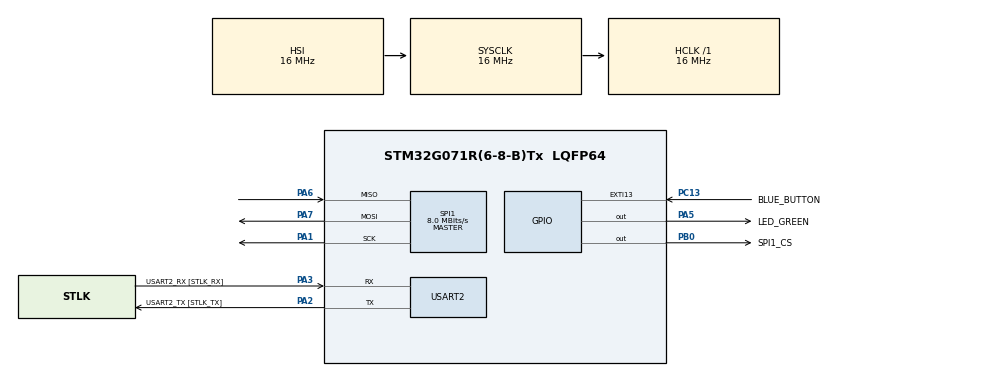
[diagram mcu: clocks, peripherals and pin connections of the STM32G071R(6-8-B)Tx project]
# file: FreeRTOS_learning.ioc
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FREERTOS.Tasks01=defaultTask,24,128,StartDefaultTask,Default,NULL,Dynamic,NULL,NULL
FREERTOS.configTOTAL_HEAP_SIZE=3072*2
FREERTOS.configUSE_NEWLIB_REENTRANT=1
Mcu.Family=STM32G0
Mcu.Name=STM32G071R(6-8-B)Tx
Mcu.Package=LQFP64
NVIC.EXTI4_15_IRQn=true\:3\:0\:false\:false\:true\:true\:true\:true\:true
NVIC.SPI1_IRQn=true\:3\:0\:false\:false\:true\:true\:true\:true\:true
NVIC.TIM6_DAC_LPTIM1_IRQn=true\:3\:0\:false\:false\:true\:false\:false\:true\:true
NVIC.TimeBase=TIM6_DAC_LPTIM1_IRQn
NVIC.TimeBaseIP=TIM6
NVIC.USART2_IRQn=true\:3\:0\:false\:false\:true\:true\:true\:true\:true
PA1.Mode=Full_Duplex_Master
PA1.Signal=SPI1_SCK
PA13.GPIO_Label=TMS
PA13.Mode=Serial_Wire
PA13.Signal=SYS_SWDIO
PA14-BOOT0.GPIO_Label=TCK
PA14-BOOT0.Mode=Serial_Wire
PA14-BOOT0.Signal=SYS_SWCLK
PA2.GPIO_Label=USART2_TX [STLK_TX]
PA2.GPIO_PuPd=GPIO_PULLUP
PA2.Mode=Asynchronous
PA2.Signal=USART2_TX
PA3.GPIO_Label=USART2_RX [STLK_RX]
PA3.GPIO_PuPd=GPIO_PULLUP
PA3.Mode=Asynchronous
PA3.Signal=USART2_RX
PA5.GPIO_Label=LED_GREEN
PA5.GPIO_Speed=GPIO_SPEED_FREQ_HIGH
PA5.Signal=GPIO_Output
PA6.Mode=Full_Duplex_Master
PA6.Signal=SPI1_MISO
PA7.Mode=Full_Duplex_Master
PA7.Signal=SPI1_MOSI
PB0.GPIO_Label=SPI1_CS
PB0.Signal=GPIO_Output
PC13.GPIO_Label=BLUE_BUTTON
PC13.GPIO_ModeDefaultEXTI=GPIO_MODE_IT_FALLING
PC13.Signal=GPXTI13
PC14-OSC32_IN\ (PC14).Mode=LSE-External-Oscillator
PC14-OSC32_IN\ (PC14).Signal=RCC_OSC32_IN
PC15-OSC32_OUT\ (PC15).Mode=LSE-External-Oscillator
PC15-OSC32_OUT\ (PC15).Signal=RCC_OSC32_OUT
PF0-OSC_IN\ (PF0).GPIO_Label=MCO
PF0-OSC_IN\ (PF0).Mode=HSE-External-Clock-Source
PF0-OSC_IN\ (PF0).Signal=RCC_OSC_IN
ProjectManager.HeapSize=0x200
ProjectManager.StackSize=0x400
ProjectManager.TargetToolchain=STM32CubeIDE
RCC.AHBFreq_Value=16000000
RCC.CortexFreq_Value=16000000
RCC.EXTERNAL_CLOCK_VALUE=12288000
RCC.HCLKFreq_Value=16000000
RCC.HSE_VALUE=8000000
RCC.HSI_VALUE=16000000
RCC.SYSCLKFreq_VALUE=16000000
RCC.VCOOutputFreq_Value=128000000
SPI1.CLKPhase=SPI_PHASE_2EDGE
SPI1.CLKPolarity=SPI_POLARITY_HIGH
SPI1.CalculateBaudRate=8.0 MBits/s
SPI1.DataSize=SPI_DATASIZE_8BIT
SPI1.Direction=SPI_DIRECTION_2LINES
SPI1.Mode=SPI_MODE_MASTER
SPI1.VirtualType=VM_MASTER
USART2.VirtualMode-Asynchronous=VM_ASYNC
VP_FREERTOS_VS_CMSIS_V2.Mode=CMSIS_V2
VP_SYS_VS_tim6.Mode=TIM6
board=NUCLEO-G071RB

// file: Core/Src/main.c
/* USER CODE BEGIN Header */
/**
  ******************************************************************************
  * @file           : main.c
  * @brief          : Main program body
  ******************************************************************************
  * @attention
  *
  * Copyright (c) 2023 STMicroelectronics.
  * All rights reserved.
  *
  * This software is licensed under terms that can be found in the LICENSE file
  * in the root directory of this software component.
  * If no LICENSE file comes with this software, it is provided AS-IS.
  *
  ******************************************************************************
  */
/* USER CODE END Header */
#include "main.h"
#include "cmsis_os.h"
#include "spi.h"
#include "usart.h"
#include "gpio.h"

void SystemClock_Config(void);
void MX_FREERTOS_Init(void);

int main(void)
{

  /* MCU Configuration--------------------------------------------------------*/

  /* Reset of all peripherals, Initializes the Flash interface and the Systick. */
  HAL_Init();

  /* Configure the system clock */
  SystemClock_Config();

  /* Initialize all configured peripherals */
  MX_GPIO_Init();
  MX_USART2_UART_Init();
  MX_SPI1_Init();

  /* Init scheduler */
  osKernelInitialize();  /* Call init function for freertos objects (in freertos.c) */
  MX_FREERTOS_Init();

  /* Start scheduler */
  osKernelStart();

  /* We should never get here as control is now taken by the scheduler */
  /* Infinite loop */
  while (1)
  {

  }
}

void SystemClock_Config(void)
{
  RCC_OscInitTypeDef RCC_OscInitStruct = {0};
  RCC_ClkInitTypeDef RCC_ClkInitStruct = {0};

  /** Configure the main internal regulator output voltage
  */
  HAL_PWREx_ControlVoltageScaling(PWR_REGULATOR_VOLTAGE_SCALE1);

  /** Initializes the RCC Oscillators according to the specified parameters
  * in the RCC_OscInitTypeDef structure.
  */
  RCC_OscInitStruct.OscillatorType = RCC_OSCILLATORTYPE_HSI;
  RCC_OscInitStruct.HSIState = RCC_HSI_ON;
  RCC_OscInitStruct.HSIDiv = RCC_HSI_DIV1;
  RCC_OscInitStruct.HSICalibrationValue = RCC_HSICALIBRATION_DEFAULT;
  RCC_OscInitStruct.PLL.PLLState = RCC_PLL_NONE;
  if (HAL_RCC_OscConfig(&RCC_OscInitStruct) != HAL_OK)
  {
    Error_Handler();
  }

  /** Initializes the CPU, AHB and APB buses clocks
  */
  RCC_ClkInitStruct.ClockType = RCC_CLOCKTYPE_HCLK|RCC_CLOCKTYPE_SYSCLK
                              |RCC_CLOCKTYPE_PCLK1;
  RCC_ClkInitStruct.SYSCLKSource = RCC_SYSCLKSOURCE_HSI;
  RCC_ClkInitStruct.AHBCLKDivider = RCC_SYSCLK_DIV1;
  RCC_ClkInitStruct.APB1CLKDivider = RCC_HCLK_DIV1;

  if (HAL_RCC_ClockConfig(&RCC_ClkInitStruct, FLASH_LATENCY_0) != HAL_OK)
  {
    Error_Handler();
  }
}

void HAL_TIM_PeriodElapsedCallback(TIM_HandleTypeDef *htim)
{
  if (htim->Instance == TIM6) {
    HAL_IncTick();
  }
}

void Error_Handler(void)
{
  __disable_irq();
  while (1)
  {
  }
}

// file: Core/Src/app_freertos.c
/* USER CODE BEGIN Header */
/**
  ******************************************************************************
  * File Name          : app_freertos.c
  * Description        : Code for freertos applications
  ******************************************************************************
  * @attention
  *
  * Copyright (c) 2023 STMicroelectronics.
  * All rights reserved.
  *
  * This software is licensed under terms that can be found in the LICENSE file
  * in the root directory of this software component.
  * If no LICENSE file comes with this software, it is provided AS-IS.
  *
  ******************************************************************************
  */
/* USER CODE END Header */

#include "FreeRTOS.h"
#include "task.h"
#include "main.h"
#include "cmsis_os.h"

/* USER CODE BEGIN Includes */
#include "lis3dh_example.h"
/* USER CODE END Includes */

/* USER CODE BEGIN PD */
  #define BIT_0  ( 1 << 0 )
  #define BIT_1  ( 1 << 1 )
  #define BIT_2  ( 1 << 2 )
/* USER CODE END PD */

/* USER CODE BEGIN Variables */
osThreadId_t blinkingRatioThreadHandle;
const osThreadAttr_t blinkingRatioTask_attributes = {
  .name = "ratioTask",
  .priority = (osPriority_t) osPriorityNormal,
  .stack_size = 128 * 4
};
osThreadId_t toggleLEDThreadHandle;
const osThreadAttr_t toggleLEDTask_attributes = {
  .name = "toggleLEDTask",
  .priority = (osPriority_t) osPriorityNormal,
  .stack_size = 128 * 4
};

static uint32_t blinking_ratio = 250; // 250 ms if OS tick is equal 1 ms
osThreadId_t sendByteOverUartHandle;
const osThreadAttr_t sendByteOverUartTask_attributes = {
  .name = "sendUARTbyte",
  .priority = (osPriority_t) osPriorityNormal,
  .stack_size = 128 * 4
};
static uint8_t rec_character;

// accel - accelerometer
osThreadId_t accelServiceHandle;
const osThreadAttr_t accelServiceTask_attributes = {
  .name = "accelerometer service",
  .priority = (osPriority_t) osPriorityNormal,
  .stack_size = 128 * 4 * 2
};

static accel_state_t accel_state = ACC_INIT;
/* USER CODE END Variables */
/* Definitions for defaultTask */
osThreadId_t defaultTaskHandle;
const osThreadAttr_t defaultTask_attributes = {
  .name = "defaultTask",
  .priority = (osPriority_t) osPriorityNormal,
  .stack_size = 128 * 4
};

/* USER CODE BEGIN FunctionPrototypes */
static void ChangeBlinkingRatioThread(void *argument);
static void ToggleLEDThread(void *argument);
static void SendBytOverUartThread(void *argument);
static void AccelServiceThread(void * argument);
/* USER CODE END FunctionPrototypes */

void StartDefaultTask(void *argument);

void MX_FREERTOS_Init(void); /* (MISRA C 2004 rule 8.1) */

void MX_FREERTOS_Init(void) {
  /* USER CODE BEGIN Init */
  HAL_UART_Receive_IT(&huart2, &rec_character, sizeof(rec_character));
  /* USER CODE END Init */

  /* Create the thread(s) */
  /* creation of defaultTask */
  defaultTaskHandle = osThreadNew(StartDefaultTask, NULL, &defaultTask_attributes);

  /* USER CODE BEGIN RTOS_THREADS */
  /* add threads, ... */
  blinkingRatioThreadHandle = osThreadNew(ChangeBlinkingRatioThread, NULL, &blinkingRatioTask_attributes);
  toggleLEDThreadHandle = osThreadNew(ToggleLEDThread, NULL, &toggleLEDTask_attributes);
  sendByteOverUartHandle = osThreadNew(SendBytOverUartThread, NULL, &sendByteOverUartTask_attributes);
  accelServiceHandle = osThreadNew(AccelServiceThread, NULL, &accelServiceTask_attributes);
  /* USER CODE END RTOS_THREADS */

}

void StartDefaultTask(void *argument)
{
  /* USER CODE BEGIN StartDefaultTask */
  /* Infinite loop */
  for(;;)
  {
    osDelay(100);
  }
  /* USER CODE END StartDefaultTask */
}

/* USER CODE BEGIN Application */
void HAL_GPIO_EXTI_Falling_Callback(uint16_t GPIO_Pin)
{
  if (GPIO_Pin == BLUE_BUTTON_Pin)
  {
    osThreadFlagsSet(blinkingRatioThreadHandle, BIT_1);
    osThreadFlagsSet(sendByteOverUartHandle, BIT_1);

  }
}

static void ToggleLEDThread(void * argument)
{
  (void) argument;
  for (;;)
  {
    osDelay(blinking_ratio);
    HAL_GPIO_TogglePin(LED_GREEN_GPIO_Port, LED_GREEN_Pin);
  }
}

static void ChangeBlinkingRatio(void)
{
  if (blinking_ratio == 250)
    blinking_ratio = 1000;
  else
    blinking_ratio = 250;
}

static void ChangeBlinkingRatioThread(void * argument)
{
  (void) argument;
  for(;;)
  {
    osThreadFlagsWait(BIT_1, osFlagsWaitAny, osWaitForever);

    ChangeBlinkingRatio();
  }
}

const uint8_t button_press_str[] = "Button pressed\r\n";
const uint8_t data_rec_str[] = "received sth\r\n";
const uint8_t data_rec_e_str[] = "received e\r\n";

static void SendBytOverUartThread(void *argument)
{
  (void) argument;
  uint32_t events = 0;
  for (;;)
  {
    events = osThreadFlagsWait(BIT_0 | BIT_1, osFlagsWaitAny, osWaitForever);

    switch (events)
    {
      case BIT_0:
        if (rec_character == 'e')
          HAL_UART_Transmit(&huart2, data_rec_e_str, sizeof(data_rec_e_str), 500);
        else
          HAL_UART_Transmit(&huart2, data_rec_str, sizeof(data_rec_str), 500);
        break;
      case BIT_1:
        HAL_UART_Transmit(&huart2, button_press_str, sizeof(button_press_str), 500);
        break;
      default:
        break;
    }
  }
}

void HAL_UART_RxCpltCallback(UART_HandleTypeDef *huart)
{
  if (huart->Instance == USART2)
  {
    osThreadFlagsSet(sendByteOverUartHandle, BIT_0);
    HAL_UART_Receive_IT(&huart2, &rec_character, sizeof(rec_character));
  }
}

static void AccelMachineState(void)
{
  switch (accel_state)
  {
  case ACC_RUNNING:
    if (lis3dh_is_samples_ready())
      lis3dh_read_fifo();
    else
      osDelay(100);
  break;
  case ACC_INIT:
  case ACC_ERROR:
  default:
  break;
  }
}

static void AccelServiceThread(void *argument)
{
  (void) argument;
  accel_state = lis3dh_init();
  for (;;)
  {
    AccelMachineState();
  }

}
/* USER CODE END Application */
